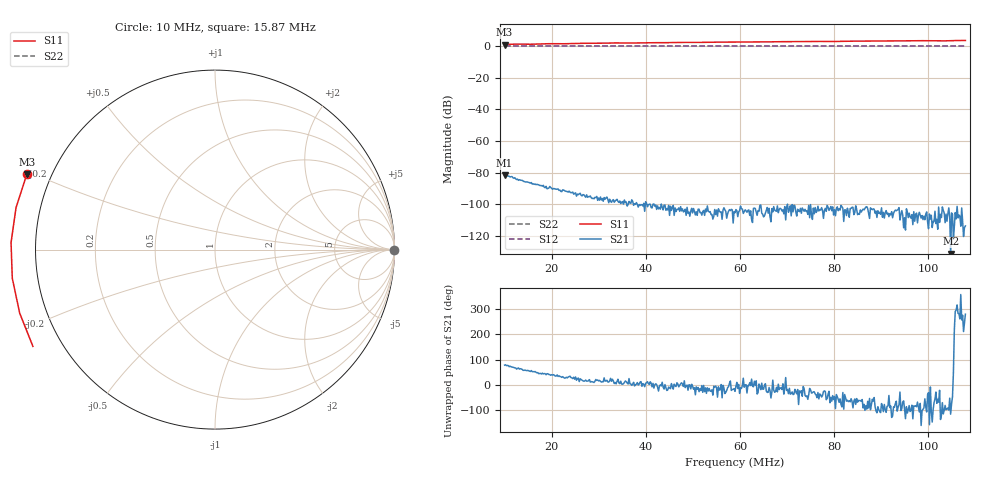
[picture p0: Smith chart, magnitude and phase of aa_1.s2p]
! Anritsu VNA Master:  Model: MS2036C/10/77
! SN:  1601066
! /card0/usr/aa_1.s2p
! Existing Calibration Information:
! TYPE:  Current Settings,  Active Cal Settings
! TIME:  12/17/2017 08:13:47 PM,  12/17/2017 06:38:14 PM
! INTERNAL TEMP:  39.0 C,  43.8 C
! # POINTS:  501,  501
! START FREQ:  10.000 MHz,  10.000 MHz
! STOP FREQ:  107.903 125 MHz,  107.903 125 MHz
! SOURCE POWER:  High,  High
! IFBW:  100 Hz,  100 Hz
! AVG FACTOR:  1 ,  1
! REF PLANE 1:  0 mm,  0 mm
! REF PLANE 2:  0 mm,  0 mm
! CAL TYPE:  Full S11,  Full S11
! CAL METHOD:  SOLT,  SOLT
! CAL LINE TYPE:  Coax,  Coax
! DUT PORT 1:  N-Conn(F),  N-Conn(F)
! DUT PORT 2:  K-Conn(F),  K-Conn(F)
! CAL STATUS:  OK: Accuracy High,  --
# GHZ S DB R 50.0
! FREQ.GHZ  S11DB  S11A  S21DB  S21A  S12DB  S12A  S22DB  S22A
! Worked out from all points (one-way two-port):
!   501 points, 10 MHz to 107.9 MHz, reference 50 ohm
!   highest |S21| = -81.51 dB at 10 MHz (marker M1); lowest = -131.2 dB at 104.8 MHz (marker M2)
!   lowest |S11| = 1.1 dB at 10 MHz (marker M3)
!   |S11| at or under -10 dB: nowhere
!   |S22| runs from 0.0 to 0.0 dB; largest |S21 - S12| = 1
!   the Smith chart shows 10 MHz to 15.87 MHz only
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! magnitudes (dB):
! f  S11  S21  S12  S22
! 10 MHz  1.1  -81.5  0.0  0.0
! 12.35 MHz  1.3  -83.8  0.0  0.0
! 15.87 MHz  1.3  -87.1  0.0  0.0
! 19.01 MHz  1.6  -90.1  0.0  0.0
! 22.73 MHz  1.5  -91.2  0.0  0.0
! 26.45 MHz  1.8  -94.6  0.0  0.0
! 30.17 MHz  1.8  -97.3  0.0  0.0
! 33.11 MHz  2.1  -97.0  0.0  0.0
! 37.22 MHz  2.0  -98.1  0.0  0.0
! 40.55 MHz  2.2  -100.2  0.0  0.0
! 42.7 MHz  2.2  -102.8  0.0  0.0
! 47.79 MHz  2.4  -102.8  0.0  0.0
! 59.15 MHz  2.5  -103.3  0.0  0.0
! 75.4 MHz  3.0  -109.5  0.0  0.0
! 79.9 MHz  3.0  -106.7  0.0  0.0
! 83.62 MHz  3.2  -102.5  0.0  0.0
! 91.65 MHz  3.3  -107.7  0.0  0.0
! 94 MHz  3.3  -109.8  0.0  0.0
! 98.31 MHz  3.5  -106.9  0.0  0.0
! 102.4 MHz  3.3  -111.4  0.0  0.0
! 104.8 MHz  3.5  -131.2  0.0  0.0
! 107.9 MHz  3.6  -113.6  0.0  0.0
